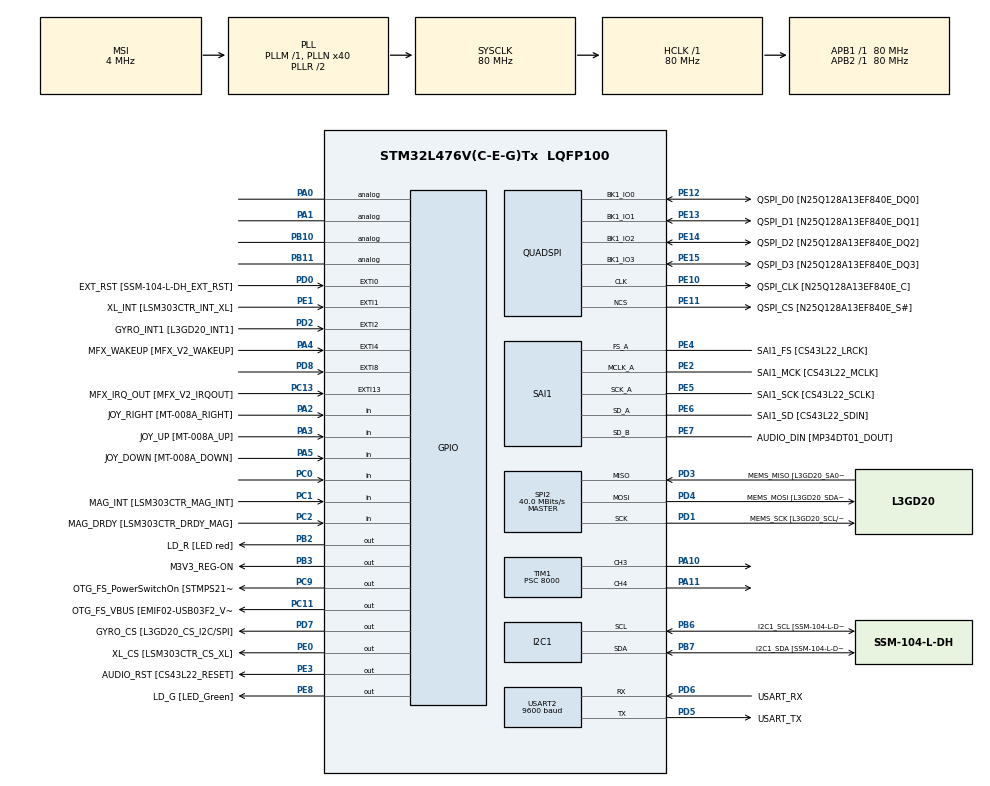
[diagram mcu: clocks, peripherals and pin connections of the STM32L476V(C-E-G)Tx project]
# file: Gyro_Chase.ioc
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FREERTOS.INCLUDE_eTaskGetState=1
FREERTOS.INCLUDE_vTaskDelayUntil=1
FREERTOS.INCLUDE_xTaskGetHandle=1
FREERTOS.Tasks01=defaultTask,0,128,StartDefaultTask,Default,NULL
FREERTOS.configUSE_TRACE_FACILITY=1
Mcu.Family=STM32L4
Mcu.Name=STM32L476V(C-E-G)Tx
Mcu.Package=LQFP100
NVIC.PriorityGroup=NVIC_PRIORITYGROUP_4
NVIC.SPI2_IRQn=true\:5\:0\:false\:false\:true\:true\:true
NVIC.TIM3_IRQn=true\:0\:0\:false\:false\:true\:false\:false
NVIC.TimeBase=TIM3_IRQn
NVIC.TimeBaseIP=TIM3
NVIC.USART2_IRQn=true\:5\:0\:false\:false\:true\:true\:true
PA0.Signal=GPIO_Analog
PA1.Signal=GPIO_Analog
PA10.Signal=S_TIM1_CH3
PA11.Signal=S_TIM1_CH4
PA12.GPIO_Label=OTG_FS_DP [EMIF02-USB03F2_D+out]
PA12.GPIO_Mode=GPIO_MODE_AF_PP
PA12.GPIO_PuPd=GPIO_NOPULL
PA12.GPIO_Speed=GPIO_SPEED_FREQ_VERY_HIGH
PA12.Signal=USB_OTG_FS_DP
PA13\ (JTMS-SWDIO).GPIO_Label=SWDIO
PA13\ (JTMS-SWDIO).Mode=Serial_Wire
PA13\ (JTMS-SWDIO).Signal=SYS_JTMS-SWDIO
PA14\ (JTCK-SWCLK).GPIO_Label=SWCLK
PA14\ (JTCK-SWCLK).Mode=Serial_Wire
PA14\ (JTCK-SWCLK).Signal=SYS_JTCK-SWCLK
PA15\ (JTDI).GPIO_Label=SEG10 [GH08172T_SEG10]
PA15\ (JTDI).GPIO_Mode=GPIO_MODE_AF_PP
PA15\ (JTDI).GPIO_PuPd=GPIO_NOPULL
PA15\ (JTDI).GPIO_Speed=GPIO_SPEED_FREQ_LOW
PA15\ (JTDI).Signal=LCD_SEG17
PA2.GPIO_Label=JOY_RIGHT [MT-008A_RIGHT]
PA2.GPIO_Mode=GPIO_MODE_INPUT
PA2.GPIO_PuPd=GPIO_PULLDOWN
PA2.Signal=GPIO_Input
PA3.GPIO_Label=JOY_UP [MT-008A_UP]
PA3.GPIO_Mode=GPIO_MODE_INPUT
PA3.GPIO_PuPd=GPIO_PULLDOWN
PA3.Signal=GPIO_Input
PA4.GPIO_Label=MFX_WAKEUP [MFX_V2_WAKEUP]
PA4.GPIO_ModeDefaultEXTI=GPIO_MODE_EVT_RISING
PA4.GPIO_PuPd=GPIO_NOPULL
PA4.Signal=GPXTI4
PA5.GPIO_Label=JOY_DOWN [MT-008A_DOWN]
PA5.GPIO_Mode=GPIO_MODE_INPUT
PA5.GPIO_PuPd=GPIO_PULLDOWN
PA5.Signal=GPIO_Input
PA6.GPIO_Label=SEG23 [GH08172T_SEG23]
PA6.GPIO_Mode=GPIO_MODE_AF_PP
PA6.GPIO_PuPd=GPIO_NOPULL
PA6.GPIO_Speed=GPIO_SPEED_FREQ_LOW
PA6.Signal=LCD_SEG3
PA7.GPIO_Label=SEG0 [GH08172T_SEG0]
PA7.GPIO_Mode=GPIO_MODE_AF_PP
PA7.GPIO_PuPd=GPIO_NOPULL
PA7.GPIO_Speed=GPIO_SPEED_FREQ_LOW
PA7.Signal=LCD_SEG4
PA8.GPIO_Label=COM0 [GH08172T_COM0]
PA8.GPIO_Mode=GPIO_MODE_AF_PP
PA8.GPIO_PuPd=GPIO_NOPULL
PA8.GPIO_Speed=GPIO_SPEED_FREQ_LOW
PA8.Signal=LCD_COM0
PA9.GPIO_Label=COM1 [GH08172T_COM1]
PA9.GPIO_Mode=GPIO_MODE_AF_PP
PA9.GPIO_PuPd=GPIO_NOPULL
PA9.GPIO_Speed=GPIO_SPEED_FREQ_LOW
PA9.Signal=LCD_COM1
PB0.GPIO_Label=SEG21 [GH08172T_SEG21]
PB0.GPIO_Mode=GPIO_MODE_AF_PP
PB0.GPIO_PuPd=GPIO_NOPULL
PB0.GPIO_Speed=GPIO_SPEED_FREQ_LOW
PB0.Signal=LCD_SEG5
PB1.GPIO_Label=SEG2 [GH08172T_SEG2]
PB1.GPIO_Mode=GPIO_MODE_AF_PP
PB1.GPIO_PuPd=GPIO_NOPULL
PB1.GPIO_Speed=GPIO_SPEED_FREQ_LOW
PB1.Signal=LCD_SEG6
PB10.Signal=GPIO_Analog
PB11.Signal=GPIO_Analog
PB12.GPIO_Label=SEG20 [GH08172T_SEG20]
PB12.GPIO_Mode=GPIO_MODE_AF_PP
PB12.GPIO_PuPd=GPIO_NOPULL
PB12.GPIO_Speed=GPIO_SPEED_FREQ_LOW
PB12.Signal=LCD_SEG12
PB13.GPIO_Label=SEG3 [GH08172T_SEG3]
PB13.GPIO_Mode=GPIO_MODE_AF_PP
PB13.GPIO_PuPd=GPIO_NOPULL
PB13.GPIO_Speed=GPIO_SPEED_FREQ_LOW
PB13.Signal=LCD_SEG13
PB14.GPIO_Label=SEG19 [GH08172T_SEG19]
PB14.GPIO_Mode=GPIO_MODE_AF_PP
PB14.GPIO_PuPd=GPIO_NOPULL
PB14.GPIO_Speed=GPIO_SPEED_FREQ_LOW
PB14.Signal=LCD_SEG14
PB15.GPIO_Label=SEG4 [GH08172T_SEG4]
PB15.GPIO_Mode=GPIO_MODE_AF_PP
PB15.GPIO_PuPd=GPIO_NOPULL
PB15.GPIO_Speed=GPIO_SPEED_FREQ_LOW
PB15.Signal=LCD_SEG15
PB2.GPIO_Label=LD_R [LED red]
PB2.GPIO_ModeDefaultOutputPP=GPIO_MODE_OUTPUT_PP
PB2.GPIO_PuPd=GPIO_PULLUP
PB2.GPIO_Speed=GPIO_SPEED_FREQ_VERY_HIGH
PB2.Signal=GPIO_Output
PB3\ (JTDO-TRACESWO).GPIO_Label=M3V3_REG-ON
PB3\ (JTDO-TRACESWO).GPIO_ModeDefaultOutputPP=GPIO_MODE_OUTPUT_PP
PB3\ (JTDO-TRACESWO).GPIO_PuPd=GPIO_NOPULL
PB3\ (JTDO-TRACESWO).GPIO_Speed=GPIO_SPEED_FREQ_LOW
PB3\ (JTDO-TRACESWO).Signal=GPIO_Output
PB4\ (NJTRST).GPIO_Label=SEG11 [GH08172T_SEG11]
PB4\ (NJTRST).GPIO_Mode=GPIO_MODE_AF_PP
PB4\ (NJTRST).GPIO_PuPd=GPIO_NOPULL
PB4\ (NJTRST).GPIO_Speed=GPIO_SPEED_FREQ_LOW
PB4\ (NJTRST).Signal=LCD_SEG8
PB5.GPIO_Label=SEG12 [GH08172T_SEG12]
PB5.GPIO_Mode=GPIO_MODE_AF_PP
PB5.GPIO_PuPd=GPIO_NOPULL
PB5.GPIO_Speed=GPIO_SPEED_FREQ_LOW
PB5.Signal=LCD_SEG9
PB6.GPIO_FM6=__NULL
PB6.GPIO_Label=I2C1_SCL [SSM-104-L-DH_SCL]
PB6.GPIO_Mode=GPIO_MODE_AF_OD
PB6.GPIO_PuPdOD=GPIO_PULLUP
PB6.GPIO_Speed=GPIO_SPEED_FREQ_VERY_HIGH
PB6.Mode=I2C
PB6.Signal=I2C1_SCL
PB7.GPIO_FM7=__NULL
PB7.GPIO_Label=I2C1_SDA [SSM-104-L-DH_SDA]
PB7.GPIO_Mode=GPIO_MODE_AF_OD
PB7.GPIO_PuPdOD=GPIO_PULLUP
PB7.GPIO_Speed=GPIO_SPEED_FREQ_VERY_HIGH
PB7.Mode=I2C
PB7.Signal=I2C1_SDA
PB9.GPIO_FM9=__NULL
PB9.GPIO_Label=COM3 [GH08172T_COM3]
PB9.GPIO_Mode=GPIO_MODE_AF_PP
PB9.GPIO_PuPd=GPIO_NOPULL
PB9.GPIO_Speed=GPIO_SPEED_FREQ_LOW
PB9.Signal=LCD_COM3
PC0.Signal=GPIO_Input
PC1.GPIO_Label=MAG_INT [LSM303CTR_MAG_INT]
PC1.GPIO_Mode=GPIO_MODE_INPUT
PC1.GPIO_PuPd=GPIO_NOPULL
PC1.Signal=GPIO_Input
PC11.GPIO_Label=OTG_FS_VBUS [EMIF02-USB03F2_Vbus]
PC11.GPIO_ModeDefaultOutputPP=GPIO_MODE_OUTPUT_PP
PC11.GPIO_PuPd=GPIO_NOPULL
PC11.GPIO_Speed=GPIO_SPEED_FREQ_LOW
PC11.Signal=GPIO_Output
PC13.GPIO_Label=MFX_IRQ_OUT [MFX_V2_IRQOUT]
PC13.GPIO_ModeDefaultEXTI=GPIO_MODE_EVT_RISING
PC13.GPIO_PuPd=GPIO_NOPULL
PC13.Signal=GPXTI13
PC14-OSC32_IN\ (PC14).Mode=LSE-External-Oscillator
PC14-OSC32_IN\ (PC14).Signal=RCC_OSC32_IN
PC15-OSC32_OUT\ (PC15).Mode=LSE-External-Oscillator
PC15-OSC32_OUT\ (PC15).Signal=RCC_OSC32_OUT
PC2.GPIO_Label=MAG_DRDY [LSM303CTR_DRDY_MAG]
PC2.GPIO_Mode=GPIO_MODE_INPUT
PC2.GPIO_PuPd=GPIO_NOPULL
PC2.Signal=GPIO_Input
PC3.GPIO_Label=VLCD
PC3.GPIO_Mode=GPIO_MODE_AF_PP
PC3.GPIO_PuPd=GPIO_NOPULL
PC3.GPIO_Speed=GPIO_SPEED_FREQ_LOW
PC3.Signal=LCD_VLCD
PC4.GPIO_Label=SEG22 [GH08172T_SEG22]
PC4.GPIO_Mode=GPIO_MODE_AF_PP
PC4.GPIO_PuPd=GPIO_NOPULL
PC4.GPIO_Speed=GPIO_SPEED_FREQ_LOW
PC4.Signal=LCD_SEG22
PC5.GPIO_Label=SEG1 [GH08172T_SEG1]
PC5.GPIO_Mode=GPIO_MODE_AF_PP
PC5.GPIO_PuPd=GPIO_NOPULL
PC5.GPIO_Speed=GPIO_SPEED_FREQ_LOW
PC5.Signal=LCD_SEG23
PC6.GPIO_Label=SEG14 [GH08172T_SEG14]
PC6.GPIO_Mode=GPIO_MODE_AF_PP
PC6.GPIO_PuPd=GPIO_NOPULL
PC6.GPIO_Speed=GPIO_SPEED_FREQ_LOW
PC6.Signal=LCD_SEG24
PC7.GPIO_Label=SEG9 [GH08172T_SEG9]
PC7.GPIO_Mode=GPIO_MODE_AF_PP
PC7.GPIO_PuPd=GPIO_NOPULL
PC7.GPIO_Speed=GPIO_SPEED_FREQ_LOW
PC7.Signal=LCD_SEG25
PC8.GPIO_Label=SEG13 [GH08172T_SEG13]
PC8.GPIO_Mode=GPIO_MODE_AF_PP
PC8.GPIO_PuPd=GPIO_NOPULL
PC8.GPIO_Speed=GPIO_SPEED_FREQ_LOW
PC8.Signal=LCD_SEG26
PC9.GPIO_Label=OTG_FS_PowerSwitchOn [STMPS2141STR_EN]
PC9.GPIO_ModeDefaultOutputPP=GPIO_MODE_OUTPUT_PP
PC9.GPIO_PuPd=GPIO_NOPULL
PC9.GPIO_Speed=GPIO_SPEED_FREQ_LOW
PC9.PinState=GPIO_PIN_SET
PC9.Signal=GPIO_Output
PD0.GPIO_Label=EXT_RST [SSM-104-L-DH_EXT_RST]
PD0.GPIO_ModeDefaultEXTI=GPIO_MODE_EVT_RISING
PD0.GPIO_PuPd=GPIO_NOPULL
PD0.Signal=GPXTI0
PD1.GPIO_Label=MEMS_SCK [L3GD20_SCL/SPC]
PD1.GPIO_Mode=GPIO_MODE_AF_PP
PD1.GPIO_PuPd=GPIO_NOPULL
PD1.GPIO_Speed=GPIO_SPEED_FREQ_VERY_HIGH
PD1.Mode=Full_Duplex_Master
PD1.Signal=SPI2_SCK
PD10.GPIO_Label=SEG17 [GH08172T_SEG17]
PD10.GPIO_Mode=GPIO_MODE_AF_PP
PD10.GPIO_PuPd=GPIO_NOPULL
PD10.GPIO_Speed=GPIO_SPEED_FREQ_LOW
PD10.Signal=LCD_SEG30
PD11.GPIO_Label=SEG6 [GH08172T_SEG6]
PD11.GPIO_Mode=GPIO_MODE_AF_PP
PD11.GPIO_PuPd=GPIO_NOPULL
PD11.GPIO_Speed=GPIO_SPEED_FREQ_LOW
PD11.Signal=LCD_SEG31
PD12.GPIO_Label=SEG16 [GH08172T_SEG16]
PD12.GPIO_Mode=GPIO_MODE_AF_PP
PD12.GPIO_PuPd=GPIO_NOPULL
PD12.GPIO_Speed=GPIO_SPEED_FREQ_LOW
PD12.Signal=LCD_SEG32
PD13.GPIO_Label=SEG7 [GH08172T_SEG7]
PD13.GPIO_Mode=GPIO_MODE_AF_PP
PD13.GPIO_PuPd=GPIO_NOPULL
PD13.GPIO_Speed=GPIO_SPEED_FREQ_LOW
PD13.Signal=LCD_SEG33
PD14.GPIO_Label=SEG15 [GH08172T_SEG15]
PD14.GPIO_Mode=GPIO_MODE_AF_PP
PD14.GPIO_PuPd=GPIO_NOPULL
PD14.GPIO_Speed=GPIO_SPEED_FREQ_LOW
PD14.Signal=LCD_SEG34
PD15.GPIO_Label=SEG8 [GH08172T_SEG8]
PD15.GPIO_Mode=GPIO_MODE_AF_PP
PD15.GPIO_PuPd=GPIO_NOPULL
PD15.GPIO_Speed=GPIO_SPEED_FREQ_LOW
PD15.Signal=LCD_SEG35
PD2.GPIO_Label=GYRO_INT1 [L3GD20_INT1]
PD2.GPIO_ModeDefaultEXTI=GPIO_MODE_EVT_RISING
PD2.GPIO_PuPd=GPIO_NOPULL
PD2.Signal=GPXTI2
PD3.GPIO_Label=MEMS_MISO [L3GD20_SA0/SDO]
PD3.GPIO_Mode=GPIO_MODE_AF_PP
PD3.GPIO_PuPd=GPIO_NOPULL
PD3.GPIO_Speed=GPIO_SPEED_FREQ_VERY_HIGH
PD3.Mode=Full_Duplex_Master
PD3.Signal=SPI2_MISO
PD4.GPIO_Label=MEMS_MOSI [L3GD20_SDA/SDI/SDO]
PD4.GPIO_Mode=GPIO_MODE_AF_PP
PD4.GPIO_PuPd=GPIO_NOPULL
PD4.GPIO_Speed=GPIO_SPEED_FREQ_VERY_HIGH
PD4.Mode=Full_Duplex_Master
PD4.Signal=SPI2_MOSI
PD5.GPIO_Label=USART_TX
PD5.GPIO_Mode=GPIO_MODE_AF_PP
PD5.GPIO_PuPd=GPIO_PULLUP
PD5.GPIO_Speed=GPIO_SPEED_FREQ_VERY_HIGH
PD5.Mode=Asynchronous
PD5.Signal=USART2_TX
PD6.GPIO_Label=USART_RX
PD6.GPIO_Mode=GPIO_MODE_AF_PP
PD6.GPIO_PuPd=GPIO_PULLUP
PD6.GPIO_Speed=GPIO_SPEED_FREQ_VERY_HIGH
PD6.Mode=Asynchronous
PD6.Signal=USART2_RX
PD7.GPIO_Label=GYRO_CS [L3GD20_CS_I2C/SPI]
PD7.GPIO_ModeDefaultOutputPP=GPIO_MODE_OUTPUT_PP
PD7.GPIO_PuPd=GPIO_NOPULL
PD7.GPIO_Speed=GPIO_SPEED_FREQ_VERY_HIGH
PD7.Signal=GPIO_Output
PD8.Signal=GPXTI8
PD9.GPIO_Label=SEG5 [GH08172T_SEG5]
PD9.GPIO_Mode=GPIO_MODE_AF_PP
PD9.GPIO_PuPd=GPIO_NOPULL
PD9.GPIO_Speed=GPIO_SPEED_FREQ_LOW
PD9.Signal=LCD_SEG29
PE0.GPIO_Label=XL_CS [LSM303CTR_CS_XL]
PE0.GPIO_ModeDefaultOutputPP=GPIO_MODE_OUTPUT_PP
PE0.GPIO_PuPd=GPIO_NOPULL
PE0.GPIO_Speed=GPIO_SPEED_FREQ_LOW
PE0.Signal=GPIO_Output
PE1.GPIO_Label=XL_INT [LSM303CTR_INT_XL]
PE1.GPIO_ModeDefaultEXTI=GPIO_MODE_EVT_RISING
PE1.GPIO_PuPd=GPIO_NOPULL
PE1.Signal=GPXTI1
PE10.GPIO_Label=QSPI_CLK [N25Q128A13EF840E_C]
PE10.GPIO_Mode=GPIO_MODE_AF_PP
PE10.GPIO_PuPd=GPIO_NOPULL
PE10.GPIO_Speed=GPIO_SPEED_FREQ_VERY_HIGH
PE10.Mode=Single Bank
PE10.Signal=QUADSPI_CLK
PE11.GPIO_Label=QSPI_CS [N25Q128A13EF840E_S\#]
PE11.GPIO_Mode=GPIO_MODE_AF_PP
PE11.GPIO_PuPd=GPIO_NOPULL
PE11.GPIO_Speed=GPIO_SPEED_FREQ_VERY_HIGH
PE11.Mode=Single Bank
PE11.Signal=QUADSPI_NCS
PE12.GPIO_Label=QSPI_D0 [N25Q128A13EF840E_DQ0]
PE12.GPIO_Mode=GPIO_MODE_AF_PP
PE12.GPIO_PuPd=GPIO_NOPULL
PE12.GPIO_Speed=GPIO_SPEED_FREQ_VERY_HIGH
PE12.Mode=Single Bank
PE12.Signal=QUADSPI_BK1_IO0
PE13.GPIO_Label=QSPI_D1 [N25Q128A13EF840E_DQ1]
PE13.GPIO_Mode=GPIO_MODE_AF_PP
PE13.GPIO_PuPd=GPIO_NOPULL
PE13.GPIO_Speed=GPIO_SPEED_FREQ_VERY_HIGH
PE13.Mode=Single Bank
PE13.Signal=QUADSPI_BK1_IO1
PE14.GPIO_Label=QSPI_D2 [N25Q128A13EF840E_DQ2]
PE14.GPIO_Mode=GPIO_MODE_AF_PP
PE14.GPIO_PuPd=GPIO_NOPULL
PE14.GPIO_Speed=GPIO_SPEED_FREQ_VERY_HIGH
PE14.Mode=Single Bank
PE14.Signal=QUADSPI_BK1_IO2
PE15.GPIO_Label=QSPI_D3 [N25Q128A13EF840E_DQ3]
PE15.GPIO_Mode=GPIO_MODE_AF_PP
PE15.GPIO_PuPd=GPIO_NOPULL
PE15.GPIO_Speed=GPIO_SPEED_FREQ_VERY_HIGH
PE15.Mode=Single Bank
PE15.Signal=QUADSPI_BK1_IO3
PE2.GPIO_Label=SAI1_MCK [CS43L22_MCLK]
PE2.GPIO_Mode=GPIO_MODE_AF_PP
PE2.GPIO_PuPd=GPIO_NOPULL
PE2.GPIO_Speed=GPIO_SPEED_FREQ_VERY_HIGH
PE2.Mode=SAI_A_MasterWithClock
PE2.Signal=SAI1_MCLK_A
PE3.GPIO_Label=AUDIO_RST [CS43L22_RESET]
PE3.GPIO_ModeDefaultOutputPP=GPIO_MODE_OUTPUT_PP
PE3.GPIO_PuPd=GPIO_NOPULL
PE3.GPIO_Speed=GPIO_SPEED_FREQ_HIGH
PE3.Signal=GPIO_Output
PE4.GPIO_Label=SAI1_FS [CS43L22_LRCK]
PE4.GPIO_Mode=GPIO_MODE_AF_PP
PE4.GPIO_PuPd=GPIO_NOPULL
PE4.GPIO_Speed=GPIO_SPEED_FREQ_VERY_HIGH
PE4.Mode=SAI_A_MasterWithClock
PE4.Signal=SAI1_FS_A
PE5.GPIO_Label=SAI1_SCK [CS43L22_SCLK]
PE5.GPIO_Mode=GPIO_MODE_AF_PP
PE5.GPIO_PuPd=GPIO_NOPULL
PE5.GPIO_Speed=GPIO_SPEED_FREQ_VERY_HIGH
PE5.Mode=SAI_A_MasterWithClock
PE5.Signal=SAI1_SCK_A
PE6.GPIO_Label=SAI1_SD [CS43L22_SDIN]
PE6.GPIO_Mode=GPIO_MODE_AF_PP
PE6.GPIO_PuPd=GPIO_NOPULL
PE6.GPIO_Speed=GPIO_SPEED_FREQ_VERY_HIGH
PE6.Mode=SAI_A_MasterWithClock
PE6.Signal=SAI1_SD_A
PE7.GPIO_Label=AUDIO_DIN [MP34DT01_DOUT]
PE7.GPIO_Mode=GPIO_MODE_AF_PP
PE7.GPIO_PuPd=GPIO_NOPULL
PE7.GPIO_Speed=GPIO_SPEED_FREQ_VERY_HIGH
PE7.Mode=SAI_B_SyncSlave
PE7.Signal=SAI1_SD_B
PE8.GPIO_Label=LD_G [LED_Green]
PE8.GPIO_ModeDefaultOutputPP=GPIO_MODE_OUTPUT_PP
PE8.GPIO_PuPd=GPIO_PULLUP
PE8.GPIO_Speed=GPIO_SPEED_FREQ_VERY_HIGH
PE8.Signal=GPIO_Output
PE9.GPIO_Label=AUDIO_CLK [MP34DT01_CLK]
PE9.GPIO_Mode=GPIO_MODE_AF_PP
PE9.GPIO_PuPd=GPIO_NOPULL
PE9.GPIO_Speed=GPIO_SPEED_FREQ_LOW
PE9.Signal=SAI1_FS_B
PH0-OSC_IN\ (PH0).Mode=HSE-External-Oscillator
PH0-OSC_IN\ (PH0).Signal=RCC_OSC_IN
PH1-OSC_OUT\ (PH1).Mode=HSE-External-Oscillator
PH1-OSC_OUT\ (PH1).Signal=RCC_OSC_OUT
ProjectManager.HeapSize=0x200
ProjectManager.StackSize=0x400
ProjectManager.TargetToolchain=MDK-ARM V5
RCC.ADCFreq_Value=48000000
RCC.AHBFreq_Value=80000000
RCC.APB1Freq_Value=80000000
RCC.APB1TimFreq_Value=80000000
RCC.APB2Freq_Value=80000000
RCC.APB2TimFreq_Value=80000000
RCC.CortexFreq_Value=80000000
RCC.HCLKFreq_Value=80000000
RCC.HSE_VALUE=8000000
RCC.HSI_VALUE=16000000
RCC.MSI_VALUE=4000000
RCC.PLLN=40
RCC.PLLSAI1N=24
RCC.PREFETCH_ENABLE=1
RCC.SYSCLKFreq_VALUE=80000000
RCC.SYSCLKSource=RCC_SYSCLKSOURCE_PLLCLK
RCC.USBFreq_Value=48000000
RCC.VCOOutputFreq_Value=160000000
SAI1.FrameLength-SAI_B_SyncSlave=8
SAI1.Instance-SAI_A_MasterWithClock=SAI$Index_Block_A
SAI1.Instance-SAI_B_SyncSlave=SAI$Index_Block_B
SAI1.MClockEnable-SAI_A_MasterWithClock=SAI_MASTERCLOCK_ENABLE
SAI1.Synchro-SAI_A_MasterWithClock=SAI_ASYNCHRONOUS
SAI1.Synchro-SAI_B_SyncSlave=SAI_SYNCHRONOUS
SAI1.VirtualMode-SAI_A_MasterWithClock=VM_MASTER
SAI1.VirtualMode-SAI_B_SyncSlave=VM_SLAVE
SH.S_TIM1_CH3.0=TIM1_CH3,PWM Generation3 CH3
SH.S_TIM1_CH4.0=TIM1_CH4,PWM Generation4 CH4
SPI2.CalculateBaudRate=40.0 MBits/s
SPI2.Direction=SPI_DIRECTION_2LINES
SPI2.Mode=SPI_MODE_MASTER
SPI2.VirtualType=VM_MASTER
TIM1.Channel-PWM\ Generation3\ CH3=TIM_CHANNEL_3
TIM1.Channel-PWM\ Generation4\ CH4=TIM_CHANNEL_4
TIM1.Period=200
TIM1.Prescaler=8000
TIM1.Pulse-PWM\ Generation3\ CH3=5
TIM1.Pulse-PWM\ Generation4\ CH4=5
USART2.BaudRate=9600
USART2.VirtualMode-Asynchronous=VM_ASYNC
VP_FREERTOS_VS_ENABLE.Mode=Enabled
VP_RNG_VS_RNG.Mode=RNG_Activate
VP_SYS_VS_tim3.Mode=TIM3
VP_TIM1_VS_ClockSourceINT.Mode=Internal
VP_TIM1_VS_ClockSourceITR.Mode=TriggerSource_ITR0
board=32L476GDISCOVERY

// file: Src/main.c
/* USER CODE BEGIN Header */
/**
  ******************************************************************************
  * @file           : main.c
  * @brief          : Main program body
  ******************************************************************************
  * This notice applies to any and all portions of this file
  * that are not between comment pairs USER CODE BEGIN and
  * USER CODE END. Other portions of this file, whether
  * inserted by the user or by software development tools
  * are owned by their respective copyright owners.
  *
  * Copyright (c) 2019 STMicroelectronics International N.V.
  * All rights reserved.
  *
  * Redistribution and use in source and binary forms, with or without
  * modification, are permitted, provided that the following conditions are met:
  *
  * 1. Redistribution of source code must retain the above copyright notice,
  *    this list of conditions and the following disclaimer.
  * 2. Redistributions in binary form must reproduce the above copyright notice,
  *    this list of conditions and the following disclaimer in the documentation
  *    and/or other materials provided with the distribution.
  * 3. Neither the name of STMicroelectronics nor the names of other
  *    contributors to this software may be used to endorse or promote products
  *    derived from this software without specific written permission.
  * 4. This software, including modifications and/or derivative works of this
  *    software, must execute solely and exclusively on microcontroller or
  *    microprocessor devices manufactured by or for STMicroelectronics.
  * 5. Redistribution and use of this software other than as permitted under
  *    this license is void and will automatically terminate your rights under
  *    this license.
  *
  * THIS SOFTWARE IS PROVIDED BY STMICROELECTRONICS AND CONTRIBUTORS "AS IS"
  * AND ANY EXPRESS, IMPLIED OR STATUTORY WARRANTIES, INCLUDING, BUT NOT
  * LIMITED TO, THE IMPLIED WARRANTIES OF MERCHANTABILITY, FITNESS FOR A
  * PARTICULAR PURPOSE AND NON-INFRINGEMENT OF THIRD PARTY INTELLECTUAL PROPERTY
  * RIGHTS ARE DISCLAIMED TO THE FULLEST EXTENT PERMITTED BY LAW. IN NO EVENT
  * SHALL STMICROELECTRONICS OR CONTRIBUTORS BE LIABLE FOR ANY DIRECT, INDIRECT,
  * INCIDENTAL, SPECIAL, EXEMPLARY, OR CONSEQUENTIAL DAMAGES (INCLUDING, BUT NOT
  * LIMITED TO, PROCUREMENT OF SUBSTITUTE GOODS OR SERVICES; LOSS OF USE, DATA,
  * OR PROFITS; OR BUSINESS INTERRUPTION) HOWEVER CAUSED AND ON ANY THEORY OF
  * LIABILITY, WHETHER IN CONTRACT, STRICT LIABILITY, OR TORT (INCLUDING
  * NEGLIGENCE OR OTHERWISE) ARISING IN ANY WAY OUT OF THE USE OF THIS SOFTWARE,
  * EVEN IF ADVISED OF THE POSSIBILITY OF SUCH DAMAGE.
  *
  ******************************************************************************
  */
/* USER CODE END Header */

#include "main.h"
#include "cmsis_os.h"
#include "i2c.h"
#include "quadspi.h"
#include "rng.h"
#include "sai.h"
#include "spi.h"
#include "tim.h"
#include "usart.h"
#include "gpio.h"
#include "stdio.h"
#include "string.h"

void SystemClock_Config(void);
void MX_FREERTOS_Init(void);
void MX_GPIO_Init(void);
void MX_USART2_UART_Init(void);
void MX_RNG_Init(void);
void MX_TIM1_Init(void);
void MX_SAI1_Init(void);
void MX_QUADSPI_Init(void);
void MX_I2C1_Init(void);
void MX_SPI2_Init(void);
void StartDefaultTask(void const * argument);

int main(void)
{

  /* MCU Configuration--------------------------------------------------------*/

  /* Reset of all peripherals, Initializes the Flash interface and the Systick. */
  HAL_Init();

  /* Configure the system clock */
  SystemClock_Config();

  /* Initialize all configured peripherals */
  MX_GPIO_Init();
  MX_I2C1_Init();
  MX_QUADSPI_Init();
  MX_SAI1_Init();
  MX_SPI2_Init();
  MX_USART2_UART_Init();
  MX_TIM1_Init();
  MX_RNG_Init();
  /* USER CODE BEGIN 2 */
  HAL_TIM_Base_Start(&htim1);
  HAL_TIM_PWM_Start(&htim1,TIM_CHANNEL_3);
  HAL_TIM_PWM_Start(&htim1,TIM_CHANNEL_4);
  //have no made header files yet since they never work for me
    //print_task_init();

  __HAL_RCC_LSECSS_EXTI_ENABLE_RISING_EDGE();
  HAL_NVIC_SetPriority(EXTI0_IRQn, 0x0F, 0x00);
  HAL_NVIC_EnableIRQ(EXTI0_IRQn);
  /* USER CODE END 2 */

  /* Call init function for freertos objects (in freertos.c) */
  MX_FREERTOS_Init();

  /* Start scheduler */
  osKernelStart();

  /* We should never get here as control is now taken by the scheduler */

  /* Infinite loop */
  while (1)
  {

  }
}

void SystemClock_Config(void)
{
  RCC_OscInitTypeDef RCC_OscInitStruct = {0};
  RCC_ClkInitTypeDef RCC_ClkInitStruct = {0};
  RCC_PeriphCLKInitTypeDef PeriphClkInit = {0};

  /**Configure LSE Drive Capability
  */
  HAL_PWR_EnableBkUpAccess();
  __HAL_RCC_LSEDRIVE_CONFIG(RCC_LSEDRIVE_LOW);
  /**Initializes the CPU, AHB and APB busses clocks
  */
  RCC_OscInitStruct.OscillatorType = RCC_OSCILLATORTYPE_LSE|RCC_OSCILLATORTYPE_MSI;
  RCC_OscInitStruct.LSEState = RCC_LSE_ON;
  RCC_OscInitStruct.MSIState = RCC_MSI_ON;
  RCC_OscInitStruct.MSICalibrationValue = 0;
  RCC_OscInitStruct.MSIClockRange = RCC_MSIRANGE_6;
  RCC_OscInitStruct.PLL.PLLState = RCC_PLL_ON;
  RCC_OscInitStruct.PLL.PLLSource = RCC_PLLSOURCE_MSI;
  RCC_OscInitStruct.PLL.PLLM = 1;
  RCC_OscInitStruct.PLL.PLLN = 40;
  RCC_OscInitStruct.PLL.PLLP = RCC_PLLP_DIV7;
  RCC_OscInitStruct.PLL.PLLQ = RCC_PLLQ_DIV2;
  RCC_OscInitStruct.PLL.PLLR = RCC_PLLR_DIV2;
  if (HAL_RCC_OscConfig(&RCC_OscInitStruct) != HAL_OK)
  {
    Error_Handler();
  }
  /**Initializes the CPU, AHB and APB busses clocks
  */
  RCC_ClkInitStruct.ClockType = RCC_CLOCKTYPE_HCLK|RCC_CLOCKTYPE_SYSCLK
                              |RCC_CLOCKTYPE_PCLK1|RCC_CLOCKTYPE_PCLK2;
  RCC_ClkInitStruct.SYSCLKSource = RCC_SYSCLKSOURCE_PLLCLK;
  RCC_ClkInitStruct.AHBCLKDivider = RCC_SYSCLK_DIV1;
  RCC_ClkInitStruct.APB1CLKDivider = RCC_HCLK_DIV1;
  RCC_ClkInitStruct.APB2CLKDivider = RCC_HCLK_DIV1;

  if (HAL_RCC_ClockConfig(&RCC_ClkInitStruct, FLASH_LATENCY_4) != HAL_OK)
  {
    Error_Handler();
  }
  PeriphClkInit.PeriphClockSelection = RCC_PERIPHCLK_USART2|RCC_PERIPHCLK_SAI1
                              |RCC_PERIPHCLK_I2C1|RCC_PERIPHCLK_RNG;
  PeriphClkInit.Usart2ClockSelection = RCC_USART2CLKSOURCE_PCLK1;
  PeriphClkInit.I2c1ClockSelection = RCC_I2C1CLKSOURCE_PCLK1;
  PeriphClkInit.Sai1ClockSelection = RCC_SAI1CLKSOURCE_PLLSAI1;
  PeriphClkInit.RngClockSelection = RCC_RNGCLKSOURCE_PLLSAI1;
  PeriphClkInit.PLLSAI1.PLLSAI1Source = RCC_PLLSOURCE_MSI;
  PeriphClkInit.PLLSAI1.PLLSAI1M = 1;
  PeriphClkInit.PLLSAI1.PLLSAI1N = 24;
  PeriphClkInit.PLLSAI1.PLLSAI1P = RCC_PLLP_DIV7;
  PeriphClkInit.PLLSAI1.PLLSAI1Q = RCC_PLLQ_DIV2;
  PeriphClkInit.PLLSAI1.PLLSAI1R = RCC_PLLR_DIV2;
  PeriphClkInit.PLLSAI1.PLLSAI1ClockOut = RCC_PLLSAI1_SAI1CLK|RCC_PLLSAI1_48M2CLK;
  if (HAL_RCCEx_PeriphCLKConfig(&PeriphClkInit) != HAL_OK)
  {
    Error_Handler();
  }
  /**Configure the main internal regulator output voltage
  */
  if (HAL_PWREx_ControlVoltageScaling(PWR_REGULATOR_VOLTAGE_SCALE1) != HAL_OK)
  {
    Error_Handler();
  }
  /**Enable MSI Auto calibration
  */
  HAL_RCCEx_EnableMSIPLLMode();
}

/* USER CODE BEGIN 4 */
void HAL_GPIO_EXTI_Callback(uint16_t GPIO_Pin)
{
  HAL_GPIO_TogglePin(LD_G_GPIO_Port, LD_G_Pin);
}
/* USER CODE END 4 */

void HAL_TIM_PeriodElapsedCallback(TIM_HandleTypeDef *htim)
{
  if (htim->Instance == TIM3) {
    HAL_IncTick();
  }
}

void Error_Handler(void)
{
}

/************************ (C) COPYRIGHT STMicroelectronics *****END OF FILE****/

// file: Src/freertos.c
/* USER CODE BEGIN Header */
/**
  ******************************************************************************
  * File Name          : freertos.c
  * Description        : Code for freertos applications
  ******************************************************************************
  * This notice applies to any and all portions of this file
  * that are not between comment pairs USER CODE BEGIN and
  * USER CODE END. Other portions of this file, whether
  * inserted by the user or by software development tools
  * are owned by their respective copyright owners.
  *
  * Copyright (c) 2019 STMicroelectronics International N.V.
  * All rights reserved.
  *
  * Redistribution and use in source and binary forms, with or without
  * modification, are permitted, provided that the following conditions are met:
  *
  * 1. Redistribution of source code must retain the above copyright notice,
  *    this list of conditions and the following disclaimer.
  * 2. Redistributions in binary form must reproduce the above copyright notice,
  *    this list of conditions and the following disclaimer in the documentation
  *    and/or other materials provided with the distribution.
  * 3. Neither the name of STMicroelectronics nor the names of other
  *    contributors to this software may be used to endorse or promote products
  *    derived from this software without specific written permission.
  * 4. This software, including modifications and/or derivative works of this
  *    software, must execute solely and exclusively on microcontroller or
  *    microprocessor devices manufactured by or for STMicroelectronics.
  * 5. Redistribution and use of this software other than as permitted under
  *    this license is void and will automatically terminate your rights under
  *    this license.
  *
  * THIS SOFTWARE IS PROVIDED BY STMICROELECTRONICS AND CONTRIBUTORS "AS IS"
  * AND ANY EXPRESS, IMPLIED OR STATUTORY WARRANTIES, INCLUDING, BUT NOT
  * LIMITED TO, THE IMPLIED WARRANTIES OF MERCHANTABILITY, FITNESS FOR A
  * PARTICULAR PURPOSE AND NON-INFRINGEMENT OF THIRD PARTY INTELLECTUAL PROPERTY
  * RIGHTS ARE DISCLAIMED TO THE FULLEST EXTENT PERMITTED BY LAW. IN NO EVENT
  * SHALL STMICROELECTRONICS OR CONTRIBUTORS BE LIABLE FOR ANY DIRECT, INDIRECT,
  * INCIDENTAL, SPECIAL, EXEMPLARY, OR CONSEQUENTIAL DAMAGES (INCLUDING, BUT NOT
  * LIMITED TO, PROCUREMENT OF SUBSTITUTE GOODS OR SERVICES; LOSS OF USE, DATA,
  * OR PROFITS; OR BUSINESS INTERRUPTION) HOWEVER CAUSED AND ON ANY THEORY OF
  * LIABILITY, WHETHER IN CONTRACT, STRICT LIABILITY, OR TORT (INCLUDING
  * NEGLIGENCE OR OTHERWISE) ARISING IN ANY WAY OUT OF THE USE OF THIS SOFTWARE,
  * EVEN IF ADVISED OF THE POSSIBILITY OF SUCH DAMAGE.
  *
  ******************************************************************************
  */
/* USER CODE END Header */

#include "FreeRTOS.h"
#include "task.h"
#include "main.h"
#include "gyro_task.h"
#include "Servo.h"
#include "cmsis_os.h"
#include "basic_io.h"

/* USER CODE BEGIN PD */
#define NEXT_CLOCK  100 //next time an instruction will be called
#define BUFFER_SIZE 128
/* USER CODE END PD */

/* USER CODE BEGIN Variables */
extern TIM_HandleTypeDef htim1;
extern UART_HandleTypeDef huart2;
extern HAL_StatusTypeDef status;
uint32_t discCCR = 500;
uint32_t contCCR = 500;
uint16_t discreteDelay = 5000;
volatile uint8_t hits = 0, misses = 0;
volatile float min_Threshold = 0.95;
volatile float max_Threshold = 1.05;
/* USER CODE END Variables */
osThreadId defaultTaskHandle;

/* USER CODE BEGIN FunctionPrototypes */
void vDiscreteServo(void *pvParameters);
void vContinousServo(void *pvParameters);
void vLevel(void *pvParameters);
/* USER CODE END FunctionPrototypes */

void StartDefaultTask(void const * argument);

void MX_FREERTOS_Init(void); /* (MISRA C 2004 rule 8.1) */

void MX_FREERTOS_Init(void) {

  /* Create the thread(s) */
  /* definition and creation of defaultTask */
  osThreadDef(defaultTask, StartDefaultTask, osPriorityNormal, 0, 128);
  defaultTaskHandle = osThreadCreate(osThread(defaultTask), NULL);

  /* USER CODE BEGIN RTOS_QUEUES */
  BSP_GYRO_Init();
  xTaskCreate( vContinousServo, "Servo 1", 100, NULL, 1, NULL );
  xTaskCreate( vDiscreteServo, "Servo 2", 100, NULL, 1, NULL );
  xTaskCreate( vLevel, "Level", 100, NULL, 2, NULL );
  /* USER CODE END RTOS_QUEUES */
}

void StartDefaultTask(void const * argument)
{

  for(;;)
  {
    osDelay(1);
  }
}

/* USER CODE BEGIN Application */

void vContinousServo(void *pvParameters)
{
    int new_position = 0;
    float gyro_velocity[3] = {0};       // angular velocity
    int32_t gyro_angle[3] = {0, 0, 0};	// angle
  int offset = 0;
    for(;;)
    {
        BSP_GYRO_GetXYZ(gyro_velocity);   // get raw values from gyro device
        // integrate angular velocity to get angle
        for(int ii=0; ii<3; ii++)
        {
            gyro_angle[ii] += (int32_t)(gyro_velocity[ii] / GYRO_THRESHOLD_DETECTION);
        }
        new_position = -1 * gyro_angle[2];
        if(new_position < 0)
        {
            new_position = 0;
        }
        else if(new_position > 1500)
        {
            new_position = 1500;
        }
    contCCR = 500 + new_position;
         __HAL_TIM_SET_COMPARE(&htim1, TIM_CHANNEL_3, contCCR);
        vTaskDelay(100);
    }
}

void vLevel(void *pvParameters)
{
    int new_position = 0;
     uint8_t p;
    p = (RNG->DR);
    char choice[1];
    float min_Threshold = 0.95;
    float max_Threshold = 1.05;
    TIM1 ->CCR4 = 500;
    char cBuffer[128];
    int level;
    int Programgo = 0;
    int Q = sprintf(cBuffer, "Welcome To Gyro Chase \n\n\r  Pick  level Of Diffulty \n\n\rEasy 1\n\n\rNormal 2\n\n\rExpert 3\n\n\r");
    HAL_UART_Transmit(&huart2 ,(uint8_t*)cBuffer , Q, 1000);
           new_position = p%6;
    discCCR = 500 + (new_position * 300);
            for(;;)
            {

    HAL_UART_Receive(&huart2, (uint8_t*)choice, 1 , 1000);

                if( choice[0] == '1'){

                min_Threshold = 0.94;
                max_Threshold = 1.06;
                     Programgo = 1;

                }
                 if(choice[0] == '2'){

                min_Threshold = 0.96;
                max_Threshold = 1.04;
                      Programgo = 1;
                }

                  if(choice[0] == '3'){

                min_Threshold = 0.98;
                max_Threshold = 1.02;
                      Programgo = 1;

                }

                if(Programgo == 1)
                {

                vTaskDelay(100000000);

                }

            }

}
void vDiscreteServo(void *pvParameters)
{
    int new_position = 0;
    int delay_offset = 0;
    char cBuffer[128];
    uint8_t p;
    int j = 0;
            for(;;)
            {

            while( j < 11)
            {
              uint32_t min_angle = discCCR * min_Threshold;
              uint32_t max_angle = discCCR * max_Threshold;
              if((contCCR > min_angle) && (contCCR < max_angle))
              {
                GPIOE->ODR |= 0x1<<8;
                hits++;
              }
              else
              {
                GPIOE->ODR &= ~(0x1<<8);
                misses++;
              }
              p = (RNG->DR);
              while(p%6 == new_position)
              {
                p = (RNG->DR);
              }
              new_position = p%6;
              if(delay_offset < 0)
              {
                delay_offset = delay_offset*(-1);
              }
              discCCR = 500 + (new_position * 300);
              j++;
              __HAL_TIM_SET_COMPARE(&htim1, TIM_CHANNEL_4, discCCR);
              vTaskDelay(discreteDelay);
            }
            int n = sprintf(cBuffer, "GAME OVER   HITS = %d   MISSES = %d\r", hits - 1, misses);
            HAL_UART_Transmit(&huart2 ,(uint8_t*)cBuffer , n, 1000);
            vTaskDelay(100);
    }
}
/* USER CODE END Application */

/************************ (C) COPYRIGHT STMicroelectronics *****END OF FILE****/
